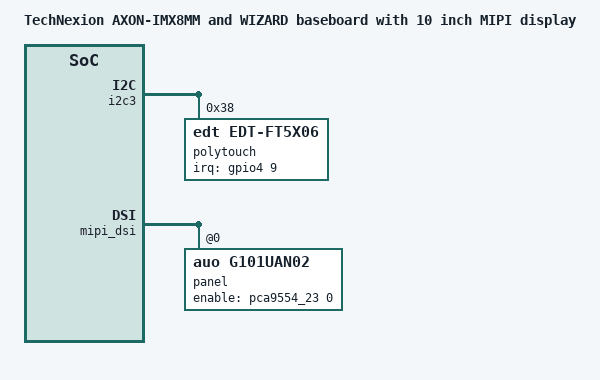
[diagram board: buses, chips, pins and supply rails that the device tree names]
/dts-v1/;
/plugin/;

#include <dt-bindings/interrupt-controller/irq.h>
#include <dt-bindings/gpio/gpio.h>

/{
    fragment@0 {
        target-path = "/";
        __overlay__ {
            model = "TechNexion AXON-IMX8MM and WIZARD baseboard with 10 inch MIPI display";
        };
    };

    fragment@1 {
        target = <&i2c3>;
        __overlay__ {
            #address-cells = <1>;
            #size-cells = <0>;
            status = "okay";

            polytouch: edt-ft5x06@38 {
                compatible = "edt,edt-ft5x06";
                reg = <0x38>;
                pinctrl-names = "default";
                pinctrl-0 = <&pinctrl_ft5336_touch_irq>;
                interrupt-parent = <&gpio4>;
                interrupts = <9 IRQ_TYPE_EDGE_FALLING>;
                touchscreen-size-x = <1920>;
                touchscreen-size-y = <1200>;
                status="okay";
            };
        };
    };

    fragment@2 {
        target = <&mipi_dsi>;
        __overlay__ {
            #address-cells = <1>;
            #size-cells = <0>;
            status = "okay";

            panel@0 {
                compatible = "auo,g101uan02";
                reg = <0>;
                enable-gpios = <&pca9554_23 0 GPIO_ACTIVE_HIGH>;
                status = "okay";
            };
        };
    };
};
